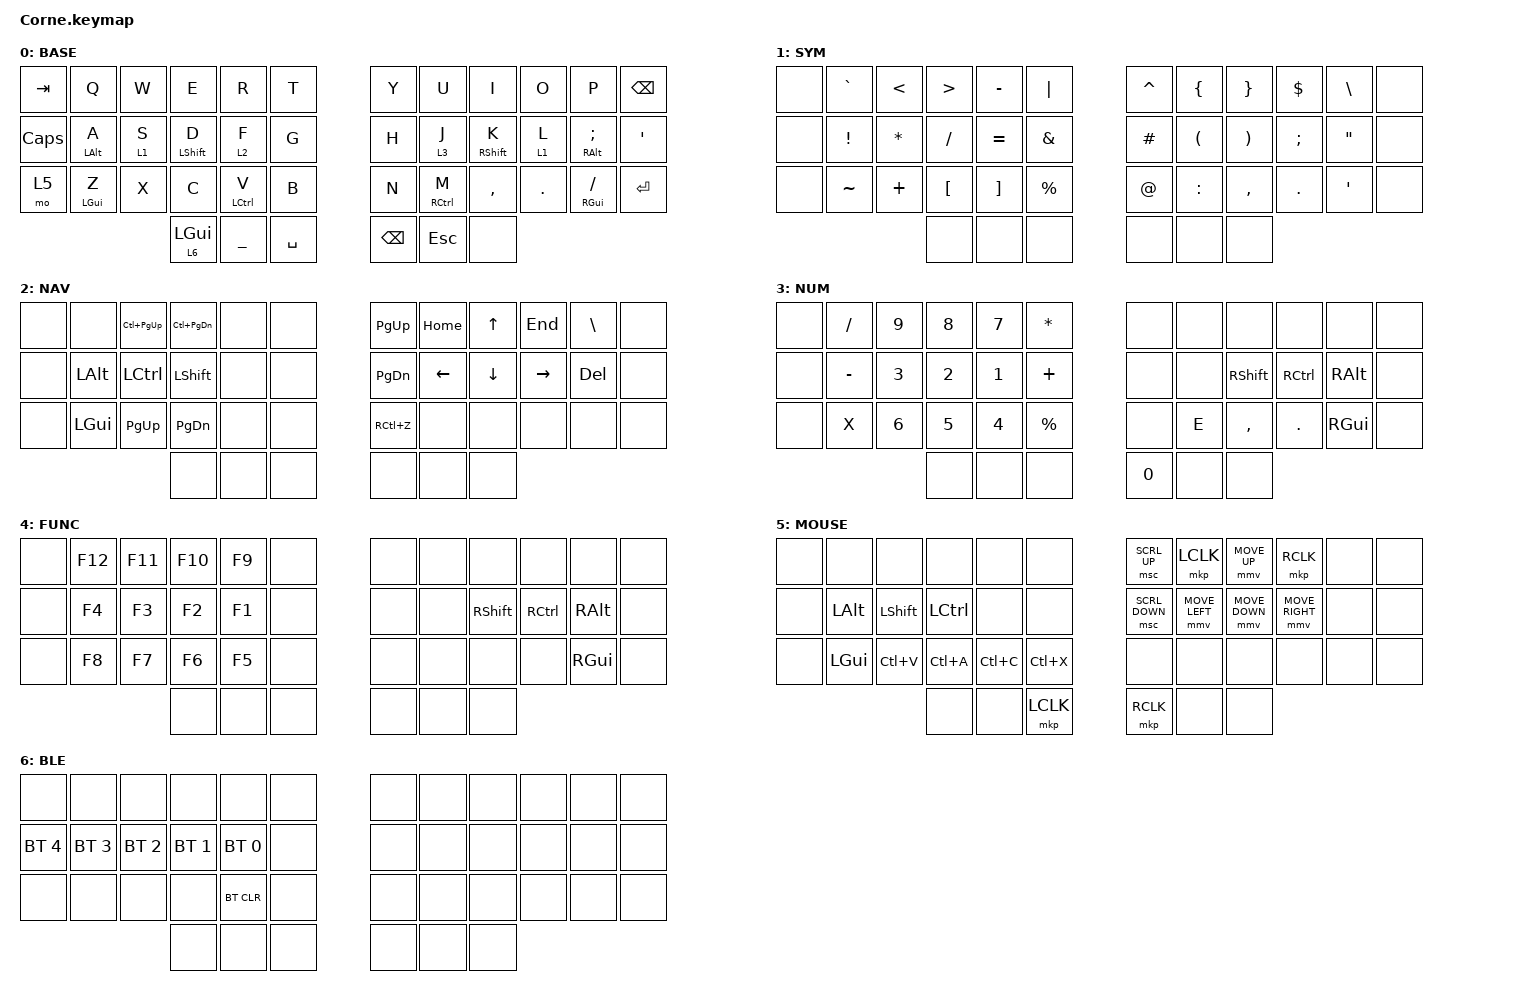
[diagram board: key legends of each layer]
/*
 * Copyright (c) 2020 The ZMK Contributors
 *
 * SPDX-License-Identifier: MIT
 */

#include <behaviors.dtsi>
#include <dt-bindings/zmk/keys.h>
#include <dt-bindings/zmk/bt.h>
#include <dt-bindings/zmk/pointing.h>

#define XXX &none
#define ___ &trans

/ {
    behaviors {
        sl_mod: sticky_layer_ignore_mods {
            compatible = "zmk,behavior-sticky-key";
            #binding-cells = <1>;
            bindings = <&mo>;
            release-after-ms = <1000>;
            ignore-modifiers;
            quick-release;
        };
    };

    combos {
        compatible = "zmk,combos";
        combo_function_layer {
            timeout-ms = <50>;
            key-positions = <18 19>;
            bindings = <&sl_mod 4>;
        };
    };

    keymap {
        compatible = "zmk,keymap";

        // layer 0
        base_layer {
            bindings = <
//+-------------------+-------------------+-------------------+-------------------+-------------------+-------------------+   +-------------------+-------------------+-------------------+-------------------+-------------------+-------------------+
    &kp TAB             &kp Q               &kp W               &kp E               &kp R               &kp T                   &kp Y               &kp U               &kp I               &kp O               &kp P               &kp BSPC
//+-------------------+-------------------+-------------------+-------------------+-------------------+-------------------+   +-------------------+-------------------+-------------------+-------------------+-------------------+-------------------+
    &kp CAPS            &mt LALT A          &lt 1 S             &mt LSHFT D         &lt 2 F             &kp G                   &kp H               &lt 3 J             &mt RSHFT K         &lt 1 L             &mt RALT SEMI       &kp SQT
//+-------------------+-------------------+-------------------+-------------------+-------------------+-------------------+   +-------------------+-------------------+-------------------+-------------------+-------------------+-------------------+
    &mo 5               &mt LGUI Z          &kp X               &kp C               &mt LCTRL V         &kp B                   &kp N               &mt RCTRL M         &kp COMMA           &kp DOT             &mt RGUI FSLH       &kp RET
//+-------------------+-------------------+-------------------+-------------------+-------------------+-------------------+   +-------------------+-------------------+-------------------+-------------------+-------------------+-------------------+
                                                                &lt 6 LGUI          &kp UNDER           &kp SPACE               &kp BSPC            &kp ESC             XXX
//                                                            +-------------------+-------------------+-------------------+   +-------------------+-------------------+-------------------+
            >;
            display-name = "BASE";
        };

        // layer 1
        symbol_layer {
            bindings = <
//+-------------------+-------------------+-------------------+-------------------+-------------------+-------------------+   +-------------------+-------------------+-------------------+-------------------+-------------------+-------------------+
    XXX                 &kp GRAVE           &kp LT              &kp GT              &kp MINUS           &kp PIPE                &kp CARET           &kp LBRC            &kp RBRC            &kp DLLR            &kp BSLH            XXX
//+-------------------+-------------------+-------------------+-------------------+-------------------+-------------------+   +-------------------+-------------------+-------------------+-------------------+-------------------+-------------------+
    XXX                 &kp EXCL            &kp ASTRK           &kp FSLH            &kp EQUAL           &kp AMPS                &kp HASH            &kp LPAR            &kp RPAR            &kp SEMI            &kp DQT             XXX
//+-------------------+-------------------+-------------------+-------------------+-------------------+-------------------+   +-------------------+-------------------+-------------------+-------------------+-------------------+-------------------+
    XXX                 &kp TILDE           &kp PLUS            &kp LBKT            &kp RBKT            &kp PRCNT               &kp AT              &kp COLON           &kp COMMA           &kp DOT             &kp SQT             XXX
//+-------------------+-------------------+-------------------+-------------------+-------------------+-------------------+   +-------------------+-------------------+-------------------+-------------------+-------------------+-------------------+
                                                                XXX                 XXX                 XXX                     XXX                 XXX                 XXX
//                                                            +-------------------+-------------------+-------------------+   +-------------------+-------------------+-------------------+
            >;
            display-name = "SYM";
        };

        // layer 2
        navigation_layer {
            bindings = <
//+-------------------+-------------------+-------------------+-------------------+-------------------+-------------------+   +-------------------+-------------------+-------------------+-------------------+-------------------+-------------------+
    XXX                 XXX                 &kp LC(PG_UP)       &kp LC(PG_DN)       XXX                 XXX                     &kp PG_UP           &kp HOME            &kp UP              &kp END             &kp BSLH            XXX
//+-------------------+-------------------+-------------------+-------------------+-------------------+-------------------+   +-------------------+-------------------+-------------------+-------------------+-------------------+-------------------+
    XXX                 &kp LALT            &kp LCTRL           &kp LSHFT           XXX                 XXX                     &kp PG_DN           &kp LEFT            &kp DOWN            &kp RIGHT           &kp DEL             XXX
//+-------------------+-------------------+-------------------+-------------------+-------------------+-------------------+   +-------------------+-------------------+-------------------+-------------------+-------------------+-------------------+
    XXX                 &kp LGUI            &kp PG_UP           &kp PG_DN           XXX                 XXX                     &kp RC(Z)           XXX                 XXX                 XXX                 XXX                 XXX
//+-------------------+-------------------+-------------------+-------------------+-------------------+-------------------+   +-------------------+-------------------+-------------------+-------------------+-------------------+-------------------+
                                                                XXX                 XXX                 XXX                     XXX                 XXX                 XXX
//                                                            +-------------------+-------------------+-------------------+   +-------------------+-------------------+-------------------+
            >;
            display-name = "NAV";
        };

        // layer 3
        numeric_layer {
            bindings = <
//+-------------------+-------------------+-------------------+-------------------+-------------------+-------------------+   +-------------------+-------------------+-------------------+-------------------+-------------------+-------------------+
    XXX                 &kp FSLH            &kp N9              &kp N8              &kp N7              &kp ASTRK               XXX                 XXX                 XXX                 XXX                 XXX                 XXX
//+-------------------+-------------------+-------------------+-------------------+-------------------+-------------------+   +-------------------+-------------------+-------------------+-------------------+-------------------+-------------------+
    XXX                 &kp MINUS           &kp N3              &kp N2              &kp N1              &kp PLUS                XXX                 XXX                 &kp RSHFT           &kp RCTRL           &kp RALT            XXX
//+-------------------+-------------------+-------------------+-------------------+-------------------+-------------------+   +-------------------+-------------------+-------------------+-------------------+-------------------+-------------------+
    XXX                 &kp X               &kp N6              &kp N5              &kp N4              &kp PRCNT               XXX                 &kp E               &kp COMMA           &kp DOT             &kp RGUI            XXX
//+-------------------+-------------------+-------------------+-------------------+-------------------+-------------------+   +-------------------+-------------------+-------------------+-------------------+-------------------+-------------------+
                                                                XXX                 XXX                 XXX                     &kp N0              XXX                 XXX
//                                                            +-------------------+-------------------+-------------------+   +-------------------+-------------------+-------------------+
            >;
            display-name = "NUM";
        };

        // layer 4
        function_layer {
            bindings = <
//+-------------------+-------------------+-------------------+-------------------+-------------------+-------------------+   +-------------------+-------------------+-------------------+-------------------+-------------------+-------------------+
    XXX                 &kp F12             &kp F11             &kp F10             &kp F9              XXX                     XXX                 XXX                 XXX                 XXX                 XXX                 XXX
//+-------------------+-------------------+-------------------+-------------------+-------------------+-------------------+   +-------------------+-------------------+-------------------+-------------------+-------------------+-------------------+
    XXX                 &kp F4              &kp F3              &kp F2              &kp F1              XXX                     XXX                 XXX                 &kp RSHFT           &kp RCTRL           &kp RALT            XXX
//+-------------------+-------------------+-------------------+-------------------+-------------------+-------------------+   +-------------------+-------------------+-------------------+-------------------+-------------------+-------------------+
    XXX                 &kp F8              &kp F7              &kp F6              &kp F5              XXX                     XXX                 XXX                 XXX                 XXX                 &kp RGUI            XXX
//+-------------------+-------------------+-------------------+-------------------+-------------------+-------------------+   +-------------------+-------------------+-------------------+-------------------+-------------------+-------------------+
                                                                XXX                 XXX                 XXX                     XXX                 XXX                 XXX
//                                                            +-------------------+-------------------+-------------------+   +-------------------+-------------------+-------------------+
            >;
            display-name = "FUNC";
        };

        // layer 5
        mouse_layer {
            bindings = <
//+-------------------+-------------------+-------------------+-------------------+-------------------+-------------------+   +-------------------+-------------------+-------------------+-------------------+-------------------+-------------------+
    XXX                 XXX                 XXX                 XXX                 XXX                 XXX                     &msc SCRL_UP        &mkp LCLK           &mmv MOVE_UP        &mkp RCLK           XXX                 XXX
//+-------------------+-------------------+-------------------+-------------------+-------------------+-------------------+   +-------------------+-------------------+-------------------+-------------------+-------------------+-------------------+
    XXX                 &kp LALT            &kp LSHFT           &kp LCTRL           XXX                 XXX                     &msc SCRL_DOWN      &mmv MOVE_LEFT      &mmv MOVE_DOWN      &mmv MOVE_RIGHT     XXX                 XXX
//+-------------------+-------------------+-------------------+-------------------+-------------------+-------------------+   +-------------------+-------------------+-------------------+-------------------+-------------------+-------------------+
    XXX                 &kp LGUI            &kp LC(V)           &kp LC(A)           &kp LC(C)           &kp LC(X)               XXX                 XXX                 XXX                 XXX                 XXX                 XXX
//+-------------------+-------------------+-------------------+-------------------+-------------------+-------------------+   +-------------------+-------------------+-------------------+-------------------+-------------------+-------------------+
                                                                XXX                 XXX                 &mkp LCLK               &mkp RCLK           XXX                 XXX
//                                                            +-------------------+-------------------+-------------------+   +-------------------+-------------------+-------------------+
            >;
            display-name = "MOUSE";
        };

        // layer 6
        bluetooth_layer {
            bindings = <
//+-------------------+-------------------+-------------------+-------------------+-------------------+-------------------+   +-------------------+-------------------+-------------------+-------------------+-------------------+-------------------+
    XXX                 XXX                 XXX                 XXX                 XXX                 XXX                     XXX                 XXX                 XXX                 XXX                 XXX                 XXX
//+-------------------+-------------------+-------------------+-------------------+-------------------+-------------------+   +-------------------+-------------------+-------------------+-------------------+-------------------+-------------------+
    &bt BT_SEL 4        &bt BT_SEL 3        &bt BT_SEL 2        &bt BT_SEL 1        &bt BT_SEL 0        XXX                     XXX                 XXX                 XXX                 XXX                 XXX                 XXX
//+-------------------+-------------------+-------------------+-------------------+-------------------+-------------------+   +-------------------+-------------------+-------------------+-------------------+-------------------+-------------------+
    XXX                 XXX                 XXX                 XXX                 &bt BT_CLR          XXX                     XXX                 XXX                 XXX                 XXX                 XXX                 XXX
//+-------------------+-------------------+-------------------+-------------------+-------------------+-------------------+   +-------------------+-------------------+-------------------+-------------------+-------------------+-------------------+
                                                                XXX                 XXX                 XXX                     XXX                 XXX                 XXX
//                                                            +-------------------+-------------------+-------------------+   +-------------------+-------------------+-------------------+
            >;
            display-name = "BLE";
        };

        // layer 7
        dummy_layer_1 {
            status = "reserved";
            display-name = "L7";
        };

        // layer 8
        dummy_layer_2 {
            status = "reserved";
            display-name = "L8";
        };
    };
};
